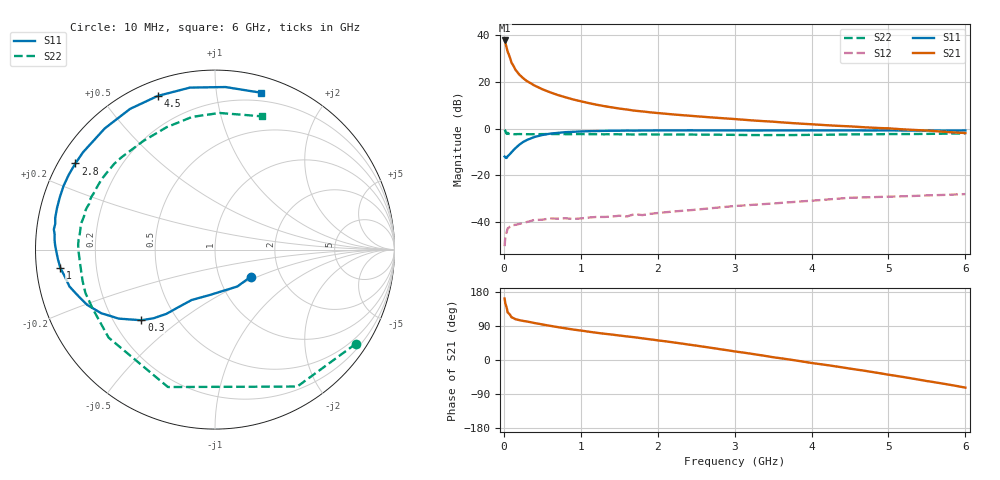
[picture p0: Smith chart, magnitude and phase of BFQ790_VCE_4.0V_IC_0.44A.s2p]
! Infineon Technologies  Discrete & RF Semiconductors
! BFQ790
! VCE =  4.0 V,  IC = 0.44 A
! Common Emitter S-Parameters:  May 2015
# GHz  S  MA  R  50
!  f  S11  S21  S12  S22
! GHz  MAG  ANG  MAG  ANG  MAG  ANG  MAG  ANG
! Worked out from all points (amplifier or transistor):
!   77 points, 10 MHz to 6 GHz, reference 50 ohm
!   highest |S21| = 37.8 dB at 10 MHz (marker M1)
!   |S21| within 3 dB of that: start of sweep to 35.55 MHz
!   unconditionally stable (mu >= 1): 143.6 MHz to end of sweep
!   at 130 MHz: K = 0.93, MSG = 34.0 dB, |S12| = -41.4 dB
!   at 2.2 GHz: K = 1.41, MAG = 17.0 dB, |S12| = -35.6 dB
!   at 6 GHz: K = 1.12, MAG = 11.0 dB, |S12| = -28.1 dB
!   S11 on the Smith chart (normalised r, x): 10 MHz: 1.42, -0.45; 300 MHz: 0.32, -0.37; 1 GHz: 0.07, -0.06; 2.8 GHz: 0.05, +0.28; 4.5 GHz: 0.07, +0.69; 6 GHz: 0.13, +1.33
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0.01  0.2506 -36.8  77.48 162.1  0.003 69.7  0.9444 -33.7
0.02  0.2403 -58.8  68.58 148.6  0.0049 59.2  0.8901 -59.0
0.05  0.2551 -96.8  44.33 125.2  0.0072 35.2  0.8093 -108.9
0.1  0.3096 -114.9  25.84 112.5  0.0084 22.5  0.7693 -140.4
0.15  0.3783 -122.3  18.32 107.7  0.0086 21.6  0.7568 -154.4
0.2  0.4489 -127.1  14.43 105.3  0.009 24.5  0.7612 -161.5
0.25  0.5129 -131.8  12.06 103.2  0.0094 20.9  0.7583 -166.3
0.3  0.5687 -136.2  10.41 101.5  0.0099 16.5  0.7558 -170.0
0.4  0.6604 -144.4  8.331 97.5  0.011 18.5  0.7561 -175.1
0.5  0.7265 -150.8  6.965 93.8  0.0111 14.1  0.7595 -178.7
0.6  0.776 -156.6  6.003 90.3  0.0118 16.0  0.7629 178.2
0.8  0.8367 -165.8  4.69 83.6  0.0119 13.9  0.7586 173.8
1  0.8671 -173.1  3.85 77.8  0.0118 14.3  0.7597 170.1
1.1  0.8765 -176.4  3.524 74.8  0.0123 16.6  0.7583 168.3
1.5  0.8975 174.6  2.687 64.7  0.0135 19.9  0.753 162.6
2.1  0.9108 163.3  2.077 49.3  0.016 19.6  0.7444 153.8
2.8  0.914 148.3  1.686 28.9  0.0203 13.6  0.7374 139.6
3.1  0.9107 141.3  1.551 19.9  0.0223 10.1  0.7282 133.1
4.1  0.9127 119.0  1.206 -10.6  0.0291 -5.2  0.7341 109.2
4.5  0.9136 110.4  1.114 -22.7  0.0328 -13.2  0.7502 99.8
5.1  0.9087 96.3  0.983 -41.9  0.0349 -25.8  0.7609 86.0
6  0.9109 73.6  0.801 -72.9  0.0393 -46.7  0.7878 70.4
